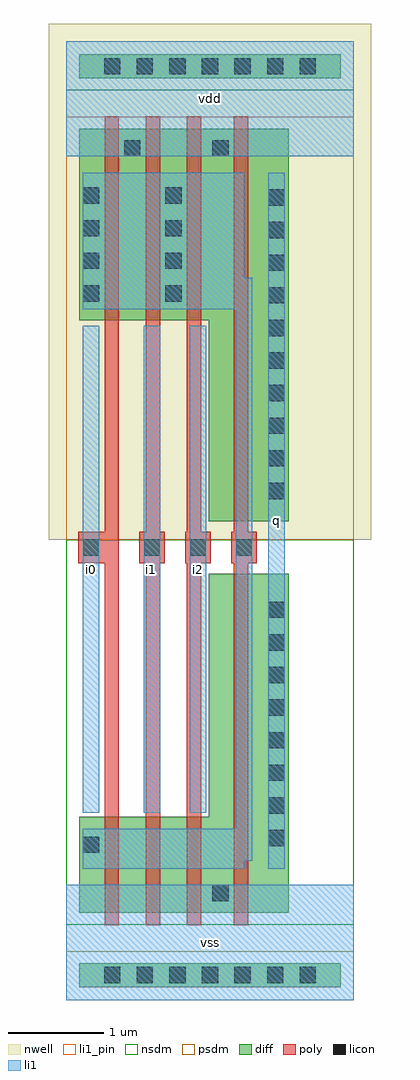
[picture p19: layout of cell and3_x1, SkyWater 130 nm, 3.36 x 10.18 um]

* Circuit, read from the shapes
.subckt and3_x1 i0 i1 i2 q vdd vss
XM1 n1 i0 n2 VSUBS sky130_fd_pr__nfet_01v8 w=1 l=0.15
XM2 n3 i1 n1 VSUBS sky130_fd_pr__nfet_01v8 w=1 l=0.15
XM3 vss i2 n3 VSUBS sky130_fd_pr__nfet_01v8 w=1 l=0.15
XM4 q n2 vss VSUBS sky130_fd_pr__nfet_01v8 w=3.535 l=0.15
XM5 vdd i0 n2 n4 sky130_fd_pr__pfet_01v8 w=2 l=0.15
XM6 n2 i1 vdd n4 sky130_fd_pr__pfet_01v8 w=2 l=0.15
XM7 vdd i2 n2 n4 sky130_fd_pr__pfet_01v8 w=2 l=0.15
XM8 q n2 vdd n4 sky130_fd_pr__pfet_01v8 w=4.095 l=0.15
.ends

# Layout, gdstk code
import gdstk
lib = gdstk.Library(unit=1e-6, precision=1e-09)
def R(c, l, rs):  # rectangles x0, y0, x1, y1
    for r in rs: c.add(gdstk.rectangle(r[:2], r[2:], *l))
def A(c, l, x, y, w, h, nx, ny, dx, dy):  # array of equal rectangles
    R(c, l, [(x+i*dx, y+j*dy, x+i*dx+w, y+j*dy+h) for i in range(nx) for j in range(ny)])
def P(c, l, *ps):  # polygons
    for p in ps: c.add(gdstk.Polygon(p, *l))
nwell = (64, 20)
diff = (65, 20)
poly = (66, 20)
licon = (66, 44)
li1_pin = (67, 16)
li1 = (67, 20)
nsdm = (93, 44)
psdm = (94, 20)

and3_x1 = lib.new_cell('and3_x1')
R(and3_x1, nwell, [(-0.18,4.8,3.18,10.18)])
R(and3_x1, diff, [(0.135,0.135,2.865,0.385), (0.135,9.615,2.865,9.865)])
P(and3_x1, diff, [(0.135,0.91),(0.135,1.91),(1.485,1.91),(1.485,4.445),(2.32,4.445),(2.32,0.91)],
  [(1.485,4.995),(1.485,7.09),(0.135,7.09),(0.135,9.09),(2.32,9.09),(2.32,4.995)])
P(and3_x1, poly, [(1.75,0.78),(1.75,4.555),(1.72,4.555),(1.72,4.885),(1.75,4.885),(1.75,9.22),(1.9,9.22),(1.9,4.885),(1.99,4.885),(1.99,4.555),(1.9,4.555),(1.9,0.78)],
  [(0.4,0.78),(0.4,4.555),(0.125,4.555),(0.125,4.885),(0.4,4.885),(0.4,9.22),(0.55,9.22),(0.55,0.78)],
  [(0.83,0.78),(0.83,4.555),(0.76,4.555),(0.76,4.885),(0.83,4.885),(0.83,9.22),(0.98,9.22),(0.98,4.885),(1.03,4.885),(1.03,4.555),(0.98,4.555),(0.98,0.78)],
  [(1.26,0.78),(1.26,4.555),(1.24,4.555),(1.24,4.885),(1.26,4.885),(1.26,9.22),(1.41,9.22),(1.41,4.885),(1.51,4.885),(1.51,4.555),(1.41,4.555),(1.41,0.78)])
A(and3_x1, licon, 0.395, 0.175, 0.17, 0.17, 7, 2, 0.34, 9.48)
A(and3_x1, licon, 2.11, 1.605, 0.17, 0.17, 1, 8, 0, 0.34)
A(and3_x1, licon, 0.81, 4.635, 0.17, 0.17, 3, 1, 0.48, 0)
A(and3_x1, licon, 2.11, 5.225, 0.17, 0.17, 1, 10, 0, 0.34)
A(and3_x1, licon, 0.175, 7.285, 0.17, 0.17, 1, 4, 0, 0.34)
A(and3_x1, licon, 1.035, 7.285, 0.17, 0.17, 1, 4, 0, 0.34)
R(and3_x1, licon, [(1.525,1.03,1.695,1.2), (0.175,1.535,0.345,1.705), (0.175,4.635,0.345,4.805), (0.605,8.8,0.775,8.97), (1.525,8.8,1.695,8.97)])
R(and3_x1, li1_pin, [(0,0,3,1.2), (2.11,1.37,2.28,8.63), (0.175,1.955,0.345,7.035), (0.81,1.955,0.98,7.035), (1.29,1.955,1.46,7.035), (0,8.8,3,10)])
R(and3_x1, li1, [(0,0,3,1.2), (2.11,1.37,2.28,8.63), (0.175,1.955,0.345,7.035), (0.81,1.955,0.98,7.035), (1.29,1.955,1.46,7.035), (0,8.8,3,10)])
P(and3_x1, li1, [(0.175,1.37),(0.175,1.785),(1.77,1.785),(1.77,7.205),(0.175,7.205),(0.175,8.63),(1.855,8.63),(1.855,7.535),(1.94,7.535),(1.94,1.455),(1.855,1.455),(1.855,1.37)])
R(and3_x1, nsdm, [(0,0.785,3,4.8), (0,9.49,3,10)])
R(and3_x1, psdm, [(0,0,3,0.51), (0,4.8,3,9.215)])
and3_x1.add(gdstk.Label('vdd', (1.5,9.4), layer=67, texttype=16))
and3_x1.add(gdstk.Label('vss', (1.5,0.6), layer=67, texttype=16))
and3_x1.add(gdstk.Label('i0', (0.26,4.495), layer=67, texttype=16))
and3_x1.add(gdstk.Label('i1', (0.895,4.495), layer=67, texttype=16))
and3_x1.add(gdstk.Label('i2', (1.375,4.495), layer=67, texttype=16))
and3_x1.add(gdstk.Label('q', (2.195,5), layer=67, texttype=16))

lib.write_gds('and3_x1.gds')
